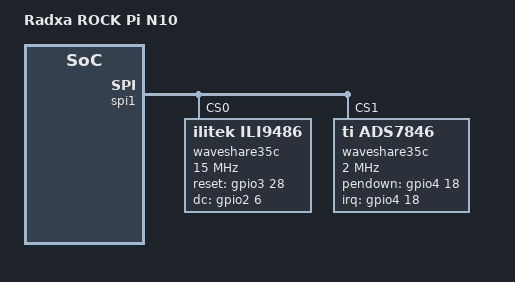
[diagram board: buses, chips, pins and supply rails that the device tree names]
/dts-v1/;
/plugin/;

/ {
	model = "Radxa ROCK Pi N10";
	compatible = "radxa,rk3399pro-rockpin10", "rockchip,rk3399pro";

	fragment@0 {
		target = <&pinctrl>;
		__overlay__ {
			waveshare35c-lcd {
				waveshare35c_pins_1: waveshare35c_pins_1 {
					rockchip,pins = <3 28 0 &pcfg_pull_none>,
							<4 18 0 &pcfg_pull_none>;
				};

				waveshare35c_pins_2: waveshare35c_pins_2 {
					rockchip,pins = <2 6 0 &pcfg_pull_none>;
				};
			};
		};
	};

	fragment@1 {
		target = <&spi1>;
		__overlay__ {
			status = "okay";
			max-freq = <48000000>;
			#address-cells = <0x1>;
			#size-cells = <0x0>;
			waveshare35c@0 {
				compatible = "ilitek,ili9486";
				status = "okay";
				reg = <0>;
				id = <0>;
				pinctrl-names = "default";
				pinctrl-0 = <&waveshare35c_pins_1 &waveshare35c_pins_2>;
				spi-max-frequency = <15000000>;
				txbuflen = <32768>;
				rotate = <270>;
				bgr = <0>;
				fps = <30>;
				buswidth = <8>;
				regwidth = <16>;
				reset-gpios = <&gpio3 28 0>;
				dc-gpios = <&gpio2 6 0>;
				debug = <0>;
				init = <0x10000b0 0x00
					0x1000011
					0x20000fa
					0x100003a 0x55
					0x1000036 0x28
					0x10000c2 0x44
					0x10000c5 0x00 0x00 0x00 0x00
					0x10000e0 0x0f 0x1f 0x1c 0x0c 0x0f 0x08 0x48 0x98 0x37 0x0a 0x13 0x04 0x11 0x0d 0x00
					0x10000e1 0x0f 0x32 0x2e 0x0b 0x0d 0x05 0x47 0x75 0x37 0x06 0x10 0x03 0x24 0x20 0x00
					0x10000e2 0x0f 0x32 0x2e 0x0b 0x0d 0x05 0x47 0x75 0x37 0x06 0x10 0x03 0x24 0x20 0x00
					0x1000011
					0x1000029>;
			};
			waveshare35c@1 {
				compatible = "ti,ads7846";
				status = "okay";
				reg = <1>;
				id = <1>;
				spi-max-frequency = <2000000>;
				interrupts = <18 2>;
				interrupt-parent = <&gpio4>;
				pendown-gpio = <&gpio4 18 0>;
				ti,x-plate-ohms = /bits/ 16 <60>;/*[00 3c];*/
				ti,pressure-max = /bits/ 16 <255>;/*[00 ff];*/
				ti,swap-xy = <0>;
			};
		};
	};
};
